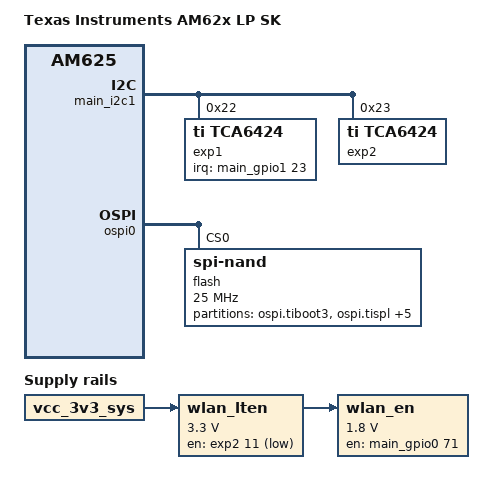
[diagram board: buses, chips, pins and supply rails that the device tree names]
// SPDX-License-Identifier: GPL-2.0
/*
 * AM62x LP SK
 *
 * Copyright (C) 2021-2022 Texas Instruments Incorporated - https://www.ti.com/
 */

/dts-v1/;

#include <dt-bindings/leds/common.h>
#include <dt-bindings/gpio/gpio.h>
#include <dt-bindings/net/ti-dp83867.h>
#include "k3-am625.dtsi"
#include "k3-am62x-sk-common.dtsi"

/ {
	compatible =  "ti,am625-sk", "ti,am625";
	model = "Texas Instruments AM62x LP SK";

	wlan_lten: regulator-5 {
		compatible = "regulator-fixed";
		regulator-name = "wlan_lten";
		regulator-min-microvolt = <3300000>;
		regulator-max-microvolt = <3300000>;
		regulator-always-on;
		vin-supply = <&vcc_3v3_sys>;
		gpios = <&exp2 11 GPIO_ACTIVE_LOW>;
	};

	wlan_en: regulator-6 {
		/* OUTPUT of SN74AVC2T244DQMR */
		compatible = "regulator-fixed";
		regulator-name = "wlan_en";
		regulator-min-microvolt = <1800000>;
		regulator-max-microvolt = <1800000>;
		enable-active-high;
		regulator-always-on;
		vin-supply = <&wlan_lten>;
		gpios = <&main_gpio0 71 GPIO_ACTIVE_HIGH>;
		pinctrl-names = "default";
		pinctrl-0 = <&wlan_en_pins_default>;
	};
};

&main_pmx0 {
	wlan_en_pins_default: wlan-en-pins-default {
		pinctrl-single,pins = <
			AM62X_IOPAD(0x124, PIN_OUTPUT, 7) /* (A23) MMC2_SDCD.GPIO0_71 */
		>;
	};

	main_mmc2_pins_default: main-mmc2-pins-default {
		pinctrl-single,pins = <
			AM62X_IOPAD(0x120, PIN_INPUT, 0) /* (C24) MMC2_CMD */
			AM62X_IOPAD(0x118, PIN_INPUT, 0) /* (D25) MMC2_CLK */
			AM62X_IOPAD(0x114, PIN_INPUT, 0) /* (B24) MMC2_DAT0 */
			AM62X_IOPAD(0x110, PIN_INPUT, 0) /* (C25) MMC2_DAT1 */
			AM62X_IOPAD(0x10c, PIN_INPUT, 0) /* (E23) MMC2_DAT2 */
			AM62X_IOPAD(0x108, PIN_INPUT, 0) /* (D24) MMC2_DAT3 */
			AM62X_IOPAD(0x11c, PIN_INPUT, 0) /* (#N/A) MMC2_CLKB */
		>;
	};

	main_wlirq_pins_default: main-wlirq-pins-default {
		pinctrl-single,pins = <
			AM62X_IOPAD(0x128, PIN_INPUT, 7) /* (B23) MMC2_SDWP.GPIO0_72 */
		>;
	};

};
&main_i2c1 {
	exp1: gpio@22 {
		compatible = "ti,tca6424";
		reg = <0x22>;
		gpio-controller;
		#gpio-cells = <2>;
		gpio-line-names = "GPIO_CPSW2_RST", "GPIO_CPSW1_RST",
				   "PRU_DETECT", "MMC1_SD_EN",
				   "VPP_LDO_EN", "EXP_PS_3V3_En",
				   "EXP_PS_5V0_En", "EXP_HAT_DETECT",
				   "GPIO_AUD_RSTn", "GPIO_eMMC_RSTn",
				   "UART1_FET_BUF_EN", "BT_UART_WAKE_SOC",
				   "GPIO_HDMI_RSTn", "CSI_GPIO0",
				   "CSI_GPIO1", "GPIO_OLDI_INT",
				   "HDMI_INTn", "TEST_GPIO2",
				   "MCASP1_FET_EN", "MCASP1_BUF_BT_EN",
				   "MCASP1_FET_SEL", "UART1_FET_SEL",
				   "", "IO_EXP_TEST_LED";

		interrupt-parent = <&main_gpio1>;
		interrupts = <23 IRQ_TYPE_EDGE_FALLING>;
		interrupt-controller;
		#interrupt-cells = <2>;

		pinctrl-names = "default";
		pinctrl-0 = <&main_gpio1_ioexp_intr_pins_default>;
	};

	exp2: gpio@23 {
		compatible = "ti,tca6424";
		reg = <0x23>;
		gpio-controller;
		#gpio-cells = <2>;
		gpio-line-names = "", "",
				   "", "",
				   "", "",
				   "", "",
				   "WL_LT_EN", "CSI_RSTz",
				   "", "",
				   "", "",
				   "", "",
				   "SPI0_FET_SEL", "SPI0_FET_OE",
				   "GPIO_OLDI_RSTn", "PRU_3V3_EN",
				   "", "",
				   "CSI_VLDO_SEL", "SOC_WLAN_SDIO_RST";
	};

};

&sdhci2 {
	status = "disabled";
};

&cpsw_port2 {
	status = "disabled";
};

&cpsw3g_mdio {
	cpsw3g_phy1: ethernet-phy@1 {
		status = "disabled";
	};
};

&ospi0 {
	flash@0 {
		compatible = "spi-nand";
		reg = <0x0>;
		spi-tx-bus-width = <8>;
		spi-rx-bus-width = <8>;
		spi-max-frequency = <25000000>;
		cdns,tshsl-ns = <60>;
		cdns,tsd2d-ns = <60>;
		cdns,tchsh-ns = <60>;
		cdns,tslch-ns = <60>;
		cdns,read-delay = <2>;
		cdns,phy-mode;

		partitions {
			compatible = "fixed-partitions";
			#address-cells = <1>;
			#size-cells = <1>;

			partition@0 {
				label = "ospi.tiboot3";
				reg = <0x0 0x80000>;
			};

			partition@80000 {
				label = "ospi.tispl";
				reg = <0x80000 0x200000>;
			};

			partition@280000 {
				label = "ospi.u-boot";
				reg = <0x280000 0x400000>;
			};

			partition@680000 {
				label = "ospi.env";
				reg = <0x680000 0x40000>;
			};

			partition@6c0000 {
				label = "ospi.env.backup";
				reg = <0x6c0000 0x40000>;
			};

			partition@800000 {
				label = "ospi.rootfs";
				reg = <0x800000 0x77c0000>;
			};

			partition@3fc0000 {
				label = "ospi.phypattern";
				reg = <0x7fc0000 0x40000>;
			};
		};
	};
};
